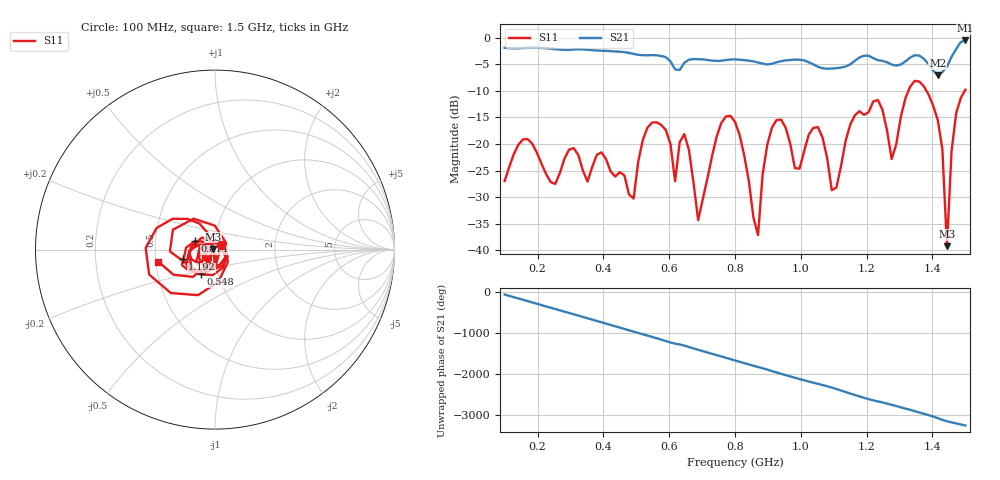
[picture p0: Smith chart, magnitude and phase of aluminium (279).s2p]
! NanoVNA-App
! Date: 2025-09-25 14:57:27
! Start: 100MHz Stop: 1,5GHz Points: 101
! S-Parameter data: F S11 S21 S12 S22
# Hz S RI R 50
!  Frequency  S11_Real  S11_Imag  S21_Real  S21_Imag  S12_Real  S12_Imag  S22_Real  S22_Imag
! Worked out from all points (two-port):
!   101 points, 100 MHz to 1.5 GHz, reference 50 ohm
!   highest |S21| = -0.54 dB at 1.5 GHz (marker M1); lowest = -7.1 dB at 1.416 GHz (marker M2)
!   |S21| within 3 dB of the highest: start of sweep to 581.1 MHz; 1.459 GHz to end of sweep (the widest 2 of 4)
!   lowest |S11| = -39.2 dB at 1.444 GHz (marker M3), VSWR 1.02, Z = 49 + j0.296 ohm
!   |S11| at or under -10 dB: start of sweep to 1.327 GHz; 1.382 GHz to 1.498 GHz (116.6 MHz wide, 8.1 % of centre)
!   S12 and S22 are empty: the file has one direction only
!   S11 on the Smith chart (normalised r, x): 100 MHz: 1.07, +0.06; 548 MHz: 0.82, -0.23; 814 MHz: 0.79, +0.07; 1.192 GHz: 0.69, -0.08; 1.5 GHz: 0.52, -0.08
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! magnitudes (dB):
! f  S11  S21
! 100 MHz  -27.0  -1.9
! 338 MHz  -25.0  -2.2
! 492 MHz  -30.2  -3.1
! 548 MHz  -16.0  -3.3
! 576 MHz  -16.4  -3.5
! 618 MHz  -27.0  -6.0
! 646 MHz  -18.1  -4.7
! 688 MHz  -34.3  -4.1
! 800 MHz  -15.8  -4.1
! 814 MHz  -18.3  -4.2
! 870 MHz  -37.1  -4.7
! 912 MHz  -17.0  -4.9
! 996 MHz  -24.6  -4.2
! 1.038 GHz  -17.0  -5.0
! 1.094 GHz  -28.7  -5.8
! 1.192 GHz  -14.5  -3.4
! 1.276 GHz  -22.8  -5.1
! 1.346 GHz  -8.1  -3.3
! 1.416 GHz  -15.5  -7.1
! 1.444 GHz  -39.2  -5.5
! 1.458 GHz  -21.3  -3.6
! 1.5 GHz  -9.8  -0.5
